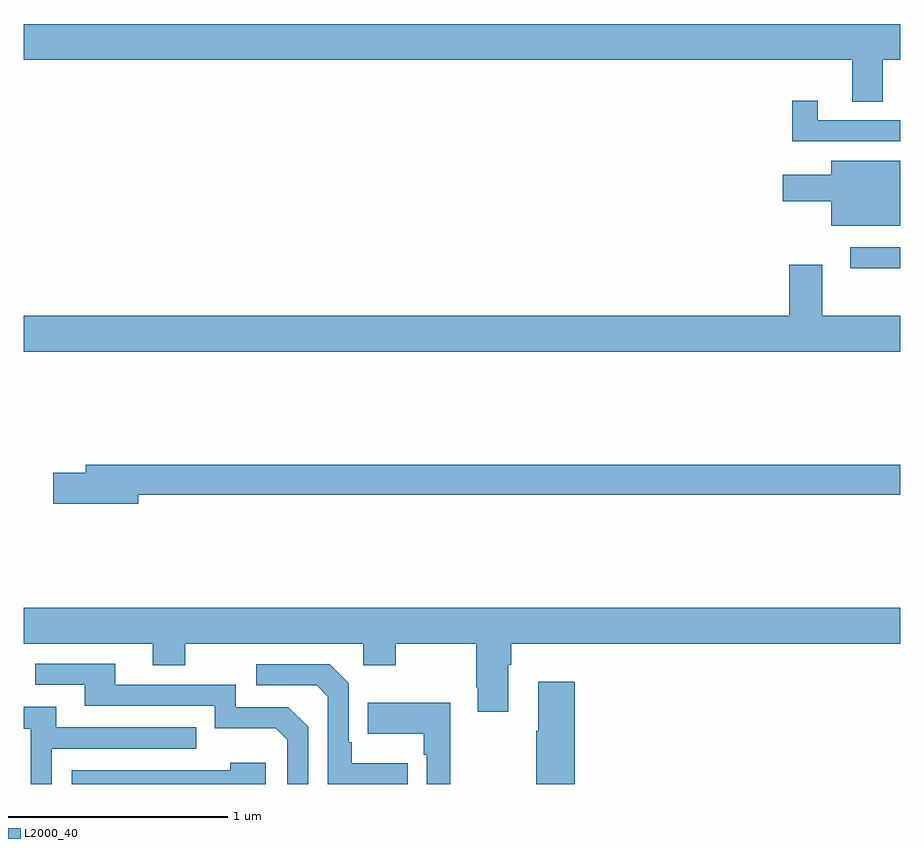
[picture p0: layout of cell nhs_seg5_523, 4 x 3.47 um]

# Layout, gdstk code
import gdstk
lib = gdstk.Library(unit=1e-6, precision=1e-09)
def R(c, l, rs):  # rectangles x0, y0, x1, y1
    for r in rs: c.add(gdstk.rectangle(r[:2], r[2:], *l))
def P(c, l, *ps):  # polygons
    for p in ps: c.add(gdstk.Polygon(p, *l))
L2000_40 = (2000, 40)

nhs_seg5_523 = lib.new_cell('nhs_seg5_523')
R(nhs_seg5_523, L2000_40, [(148.773,845.154,149,845.25)])
P(nhs_seg5_523, L2000_40, [(148.921,846.104),(149,846.104),(149,846.268),(145,846.268),(145,846.104),(148.781,846.104),(148.781,845.914),(148.921,845.914)],
  [(149,845.829),(148.624,845.829),(148.624,845.917),(148.507,845.917),(148.507,845.733),(149,845.733)],
  [(149,845.644),(148.685,845.644),(148.685,845.581),(148.464,845.581),(148.464,845.459),(148.685,845.459),(148.685,845.348),(149,845.348)],
  [(149,844.936),(148.645,844.936),(148.645,845.17),(148.493,845.17),(148.493,844.936),(145,844.936),(145,844.772),(149,844.772)],
  [(145.522,844.12),(149,844.12),(149,844.256),(145.283,844.256),(145.283,844.22),(145.134,844.22),(145.134,844.078),(145.522,844.078)],
  [(147.211,843.344),(147.224,843.344),(147.224,843.44),(149,843.44),(149,843.604),(145,843.604),(145,843.44),(145.589,843.44),(145.589,843.341),(145.737,843.341),(145.737,843.44),(146.55,843.44),(146.55,843.341),(146.697,843.341),(146.697,843.44),(147.064,843.44),(147.064,843.241),(147.071,843.241),(147.071,843.129),(147.211,843.129)],
  [(146.298,843.06),(146.208,843.15),(145.968,843.15),(145.968,843.252),(145.417,843.252),(145.417,843.348),(145.053,843.348),(145.053,843.252),(145.277,843.252),(145.277,843.156),(145.872,843.156),(145.872,843.053),(146.149,843.053),(146.202,843),(146.202,842.799),(146.298,842.799)],
  [(146.753,842.893),(146.497,842.893),(146.497,842.989),(146.484,842.989),(146.484,843.258),(146.397,843.345),(146.061,843.345),(146.061,843.249),(146.337,843.249),(146.388,843.198),(146.388,842.799),(146.753,842.799)],
  [(147.515,843.265),(147.347,843.265),(147.347,843.041),(147.34,843.041),(147.34,842.799),(147.515,842.799)],
  [(146.947,843.169),(146.569,843.169),(146.569,843.029),(146.826,843.029),(146.826,842.933),(146.838,842.933),(146.838,842.799),(146.947,842.799)],
  [(145.128,842.961),(145.787,842.961),(145.787,843.057),(145.147,843.057),(145.147,843.151),(145,843.151),(145,843.051),(145.032,843.051),(145.032,842.799),(145.128,842.799)],
  [(146.104,842.896),(145.943,842.896),(145.943,842.862),(145.218,842.862),(145.218,842.799),(146.104,842.799)])

lib.write_gds('nhs_seg5_523.gds')
